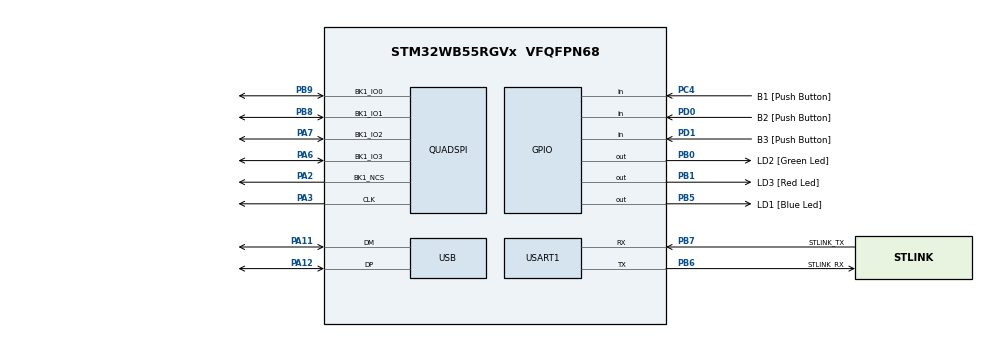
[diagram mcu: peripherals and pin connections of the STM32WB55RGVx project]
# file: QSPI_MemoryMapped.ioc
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Dma.QUADSPI.0.Direction=DMA_PERIPH_TO_MEMORY
Dma.QUADSPI.0.EventEnable=DISABLE
Dma.QUADSPI.0.Instance=DMA1_Channel5
Dma.QUADSPI.0.MemDataAlignment=DMA_MDATAALIGN_BYTE
Dma.QUADSPI.0.MemInc=DMA_MINC_ENABLE
Dma.QUADSPI.0.Mode=DMA_NORMAL
Dma.QUADSPI.0.PeriphDataAlignment=DMA_PDATAALIGN_BYTE
Dma.QUADSPI.0.PeriphInc=DMA_PINC_DISABLE
Dma.QUADSPI.0.Polarity=HAL_DMAMUX_REQ_GEN_RISING
Dma.QUADSPI.0.Priority=DMA_PRIORITY_LOW
Dma.QUADSPI.0.RequestNumber=1
Dma.QUADSPI.0.SignalID=NONE
Dma.QUADSPI.0.SyncEnable=DISABLE
Dma.QUADSPI.0.SyncPolarity=HAL_DMAMUX_SYNC_NO_EVENT
Dma.QUADSPI.0.SyncRequestNumber=1
Dma.QUADSPI.0.SyncSignalID=NONE
Dma.Request0=QUADSPI
Mcu.Family=STM32WB
Mcu.Name=STM32WB55RGVx
Mcu.Package=VFQFPN68
NVIC.DMA1_Channel5_IRQn=true\:0\:0\:false\:false\:true\:false\:true
NVIC.PriorityGroup=NVIC_PRIORITYGROUP_4
NVIC.QUADSPI_IRQn=true\:0\:0\:false\:false\:true\:true\:true
OSC_IN.Mode=HSE-External-Oscillator
OSC_IN.Signal=RCC_OSC_IN
OSC_OUT.Mode=HSE-External-Oscillator
OSC_OUT.Signal=RCC_OSC_OUT
PA11.Mode=Device
PA11.Signal=USB_DM
PA12.Mode=Device
PA12.Signal=USB_DP
PA13.GPIO_Label=JTMS
PA13.Mode=Trace_Asynchronous_SW
PA13.Signal=SYS_JTMS-SWDIO
PA14.GPIO_Label=JTCK
PA14.Mode=Trace_Asynchronous_SW
PA14.Signal=SYS_JTCK-SWCLK
PA2.GPIO_PuPd=GPIO_PULLUP
PA2.GPIO_Speed=GPIO_SPEED_FREQ_VERY_HIGH
PA2.Mode=Single Bank 1
PA2.Signal=QUADSPI_BK1_NCS
PA3.GPIO_Speed=GPIO_SPEED_FREQ_VERY_HIGH
PA3.Mode=Single Bank 1
PA3.Signal=QUADSPI_CLK
PA6.GPIO_Speed=GPIO_SPEED_FREQ_VERY_HIGH
PA6.Mode=Single Bank 1
PA6.Signal=QUADSPI_BK1_IO3
PA7.GPIO_Speed=GPIO_SPEED_FREQ_VERY_HIGH
PA7.Mode=Single Bank 1
PA7.Signal=QUADSPI_BK1_IO2
PB0.GPIO_Label=LD2 [Green Led]
PB0.Signal=GPIO_Output
PB1.GPIO_Label=LD3 [Red Led]
PB1.Signal=GPIO_Output
PB3.GPIO_Label=JTDO
PB3.Mode=Trace_Asynchronous_SW
PB3.Signal=SYS_JTDO-SWO
PB5.GPIO_Label=LD1 [Blue Led]
PB5.Signal=GPIO_Output
PB6.GPIO_Label=STLINK_RX
PB6.GPIO_PuPd=GPIO_PULLUP
PB6.Mode=Asynchronous
PB6.Signal=USART1_TX
PB7.GPIO_Label=STLINK_TX
PB7.GPIO_PuPd=GPIO_PULLUP
PB7.Mode=Asynchronous
PB7.Signal=USART1_RX
PB8.GPIO_Speed=GPIO_SPEED_FREQ_VERY_HIGH
PB8.Mode=Single Bank 1
PB8.Signal=QUADSPI_BK1_IO1
PB9.GPIO_Speed=GPIO_SPEED_FREQ_VERY_HIGH
PB9.Mode=Single Bank 1
PB9.Signal=QUADSPI_BK1_IO0
PC13.Mode=SYS_WakeUp1
PC13.Signal=SYS_WKUP2
PC14-OSC32_IN.Mode=LSE-External-Oscillator
PC14-OSC32_IN.Signal=RCC_OSC32_IN
PC15-OSC32_OUT.Mode=LSE-External-Oscillator
PC15-OSC32_OUT.Signal=RCC_OSC32_OUT
PC4.GPIO_Label=B1 [Push Button]
PC4.Signal=GPIO_Input
PD0.GPIO_Label=B2 [Push Button]
PD0.Signal=GPIO_Input
PD1.GPIO_Label=B3 [Push Button]
PD1.Signal=GPIO_Input
ProjectManager.HeapSize=0x200
ProjectManager.StackSize=0x400
ProjectManager.TargetToolchain=EWARM V8
QUADSPI.ClockPrescaler=2
QUADSPI.FifoThreshold=4
QUADSPI.FlashSize=22
QUADSPI.SampleShifting=QSPI_SAMPLE_SHIFTING_HALFCYCLE
RCC.ADCFreq_Value=48000000
RCC.AHB2CLKDivider=RCC_SYSCLK_DIV2
RCC.AHBFreq_Value=64000000
RCC.APB1Freq_Value=64000000
RCC.APB1TimFreq_Value=64000000
RCC.APB2Freq_Value=64000000
RCC.APB2TimFreq_Value=64000000
RCC.APB3Freq_Value=16000000
RCC.CortexFreq_Value=64000000
RCC.HCLKFreq_Value=64000000
RCC.HSE_VALUE=32000000
RCC.HSI48_VALUE=48000000
RCC.HSI_VALUE=16000000
RCC.PLLN=32
RCC.PLLSAI1N=24
RCC.SMPSCLockSelectionVirtual=RCC_SMPSCLKSOURCE_HSI
RCC.SMPSCLockSelectionVirtualVirtual=RCC_SMPSCLKSOURCE_HSI
RCC.SYSCLKFreq_VALUE=64000000
RCC.SYSCLKSource=RCC_SYSCLKSOURCE_PLLCLK
RCC.USBFreq_Value=48000000
RCC.VCOOutputFreq_Value=128000000
USART1.VirtualMode-Asynchronous=VM_ASYNC
USART1.WordLength=WORDLENGTH_7B
board=P-NUCLEO-WB55.Nucleo

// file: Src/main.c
/* USER CODE BEGIN Header */
/**
  ******************************************************************************
  * @file    QSPI/QSPI_MemoryMapped/Src/main.c
  * @author  MCD Application Team
  * @brief   This sample code shows how to erase part of the QSPI memory, write
  *          data in DMA mode and access to QSPI memory in memory-mapped mode.
  ******************************************************************************
  * @attention
  *
  * <h2><center>&copy; Copyright (c) 2019 STMicroelectronics.
  * All rights reserved.</center></h2>
  *
  * This software component is licensed by ST under BSD 3-Clause license,
  * the "License"; You may not use this file except in compliance with the
  * License. You may obtain a copy of the License at:
  *                        opensource.org/licenses/BSD-3-Clause
  *
  ******************************************************************************
  */
/* USER CODE END Header */
#include "main.h"

QSPI_HandleTypeDef hqspi;
DMA_HandleTypeDef hdma_quadspi;

UART_HandleTypeDef huart1;

PCD_HandleTypeDef hpcd_USB_FS;

/* USER CODE BEGIN PV */
__IO uint8_t CmdCplt, RxCplt, TxCplt, StatusMatch;

/* Buffer used for transmission */
uint8_t aTxBuffer[] = " ****Memory-mapped QSPI communication****  ****Memory-mapped QSPI communication****  ****Memory-mapped QSPI communication****  ****Memory-mapped QSPI communication****  ****Memory-mapped QSPI communication****  ****Memory-mapped QSPI communication**** ";
/* USER CODE END PV */

void SystemClock_Config(void);
static void MX_GPIO_Init(void);
static void MX_DMA_Init(void);
static void MX_QUADSPI_Init(void);
static void MX_USART1_UART_Init(void);
static void MX_USB_PCD_Init(void);
/* USER CODE BEGIN PFP */
static void QSPI_WriteEnable(QSPI_HandleTypeDef *hqspi);
static void QSPI_AutoPollingMemReady(QSPI_HandleTypeDef *hqspi);
static void QSPI_DummyCyclesCfg(QSPI_HandleTypeDef *hqspi);
/* USER CODE END PFP */

int main(void)
{
  /* USER CODE BEGIN 1 */
  QSPI_CommandTypeDef      sCommand;
  QSPI_MemoryMappedTypeDef sMemMappedCfg;
  uint32_t address = 0;
  __IO uint8_t *qspi_addr = (__IO uint8_t *)(0x90000000);
  uint16_t index;
  __IO uint8_t step = 0;

  /* USER CODE END 1 */

  /* MCU Configuration--------------------------------------------------------*/

  /* Reset of all peripherals, Initializes the Flash interface and the Systick. */
  HAL_Init();

  /* Configure the system clock */
  SystemClock_Config();

  /* USER CODE BEGIN SysInit */
  BSP_LED_Init(LED_GREEN);
  BSP_LED_Init(LED_RED);
  /* USER CODE END SysInit */

  /* Initialize all configured peripherals */
  MX_GPIO_Init();
  MX_DMA_Init();
  MX_QUADSPI_Init();
  MX_USART1_UART_Init();
  MX_USB_PCD_Init();

  /* Infinite loop */
  /* USER CODE BEGIN WHILE */
  sCommand.InstructionMode   = QSPI_INSTRUCTION_1_LINE;
  sCommand.AddressSize       = QSPI_ADDRESS_24_BITS;
  sCommand.AlternateByteMode = QSPI_ALTERNATE_BYTES_NONE;
  sCommand.DdrMode           = QSPI_DDR_MODE_DISABLE;
  sCommand.SIOOMode          = QSPI_SIOO_INST_EVERY_CMD;

  while (1)
  {
    switch(step)
    {
      case 0:
        CmdCplt = 0;

        /* Initialize QuadSPI ------------------------------------------------ */
        HAL_QSPI_DeInit(&hqspi);
        if (HAL_QSPI_Init(&hqspi) != HAL_OK)
        {
          Error_Handler();
        }

        /* Enable write operations ------------------------------------------- */
        QSPI_WriteEnable(&hqspi);

        /* Erasing Sequence -------------------------------------------------- */
        sCommand.Instruction = SUBSECTOR_ERASE_CMD;
        sCommand.AddressMode = QSPI_ADDRESS_1_LINE;
        sCommand.Address     = address;
        sCommand.DataMode    = QSPI_DATA_NONE;
        sCommand.DummyCycles = 0;

        if (HAL_QSPI_Command_IT(&hqspi, &sCommand) != HAL_OK)
        {
          Error_Handler();
        }

        step++;
        break;

      case 1:
        if(CmdCplt != 0)
        {
          CmdCplt = 0;
          StatusMatch = 0;

          /* Configure automatic polling mode to wait for end of erase ------- */
          QSPI_AutoPollingMemReady(&hqspi);

          step++;
        }
        break;

      case 2:
        if(StatusMatch != 0)
        {
          StatusMatch = 0;
          TxCplt = 0;

          /* Enable write operations ----------------------------------------- */
          QSPI_WriteEnable(&hqspi);

          /* Writing Sequence ------------------------------------------------ */
          sCommand.Instruction = EXT_DUAL_IN_FAST_PROG_CMD;
          sCommand.AddressMode = QSPI_ADDRESS_2_LINES;
          sCommand.DataMode    = QSPI_DATA_2_LINES;
          sCommand.NbData      = BUFFERSIZE;

          if (HAL_QSPI_Command(&hqspi, &sCommand, HAL_QSPI_TIMEOUT_DEFAULT_VALUE) != HAL_OK)
          {
            Error_Handler();
          }

          if (HAL_QSPI_Transmit_DMA(&hqspi, aTxBuffer) != HAL_OK)
          {
            Error_Handler();
          }

          step++;
        }
        break;

      case 3:
        if(TxCplt != 0)
        {
          TxCplt = 0;
          StatusMatch = 0;

          /* Configure automatic polling mode to wait for end of program ----- */
          QSPI_AutoPollingMemReady(&hqspi);

          step++;
        }
        break;

      case 4:
        if(StatusMatch != 0)
        {
          StatusMatch = 0;
          RxCplt = 0;

          /* Configure Volatile Configuration register (with new dummy cycles) */
          QSPI_DummyCyclesCfg(&hqspi);

          /* Reading Sequence ------------------------------------------------ */
          sCommand.Instruction = QUAD_OUT_FAST_READ_CMD;
          sCommand.AddressMode = QSPI_ADDRESS_1_LINE;
          sCommand.DataMode    = QSPI_DATA_4_LINES;
          sCommand.DummyCycles = DUMMY_CLOCK_CYCLES_READ;

          sMemMappedCfg.TimeOutActivation = QSPI_TIMEOUT_COUNTER_DISABLE;

          if (HAL_QSPI_MemoryMapped(&hqspi, &sCommand, &sMemMappedCfg) != HAL_OK)
          {
            Error_Handler();
          }

          for (index = 0; index < BUFFERSIZE; index++)
          {
            if (*qspi_addr != aTxBuffer[index])
            {
              BSP_LED_On(LED_RED);
            }
            qspi_addr++;
          }
          BSP_LED_Toggle(LED_GREEN);

          address += QSPI_PAGE_SIZE;
          if(address >= QSPI_END_ADDR)
          {
            address = 0;
          }
          qspi_addr = (__IO uint8_t *)(0x90000000 + address);

          step = 0;
        }
        break;

      default :
        Error_Handler();
    }
    /* USER CODE END WHILE */

  }
}

void SystemClock_Config(void)
{
  RCC_OscInitTypeDef RCC_OscInitStruct = {0};
  RCC_ClkInitTypeDef RCC_ClkInitStruct = {0};
  RCC_PeriphCLKInitTypeDef PeriphClkInitStruct = {0};

  /** Configure LSE Drive Capability
  */
  HAL_PWR_EnableBkUpAccess();
  __HAL_RCC_LSEDRIVE_CONFIG(RCC_LSEDRIVE_LOW);
  /** Configure the main internal regulator output voltage
  */
  __HAL_PWR_VOLTAGESCALING_CONFIG(PWR_REGULATOR_VOLTAGE_SCALE1);
  /** Initializes the RCC Oscillators according to the specified parameters
  * in the RCC_OscInitTypeDef structure.
  */
  RCC_OscInitStruct.OscillatorType = RCC_OSCILLATORTYPE_HSI|RCC_OSCILLATORTYPE_HSE
                              |RCC_OSCILLATORTYPE_LSE|RCC_OSCILLATORTYPE_MSI;
  RCC_OscInitStruct.HSEState = RCC_HSE_ON;
  RCC_OscInitStruct.LSEState = RCC_LSE_ON;
  RCC_OscInitStruct.HSIState = RCC_HSI_ON;
  RCC_OscInitStruct.MSIState = RCC_MSI_ON;
  RCC_OscInitStruct.HSICalibrationValue = RCC_HSICALIBRATION_DEFAULT;
  RCC_OscInitStruct.MSICalibrationValue = RCC_MSICALIBRATION_DEFAULT;
  RCC_OscInitStruct.MSIClockRange = RCC_MSIRANGE_6;
  RCC_OscInitStruct.PLL.PLLState = RCC_PLL_ON;
  RCC_OscInitStruct.PLL.PLLSource = RCC_PLLSOURCE_MSI;
  RCC_OscInitStruct.PLL.PLLM = RCC_PLLM_DIV1;
  RCC_OscInitStruct.PLL.PLLN = 32;
  RCC_OscInitStruct.PLL.PLLP = RCC_PLLP_DIV2;
  RCC_OscInitStruct.PLL.PLLR = RCC_PLLR_DIV2;
  RCC_OscInitStruct.PLL.PLLQ = RCC_PLLQ_DIV2;
  if (HAL_RCC_OscConfig(&RCC_OscInitStruct) != HAL_OK)
  {
    Error_Handler();
  }
  /** Configure the SYSCLKSource, HCLK, PCLK1 and PCLK2 clocks dividers
  */
  RCC_ClkInitStruct.ClockType = RCC_CLOCKTYPE_HCLK4|RCC_CLOCKTYPE_HCLK2
                              |RCC_CLOCKTYPE_HCLK|RCC_CLOCKTYPE_SYSCLK
                              |RCC_CLOCKTYPE_PCLK1|RCC_CLOCKTYPE_PCLK2;
  RCC_ClkInitStruct.SYSCLKSource = RCC_SYSCLKSOURCE_PLLCLK;
  RCC_ClkInitStruct.AHBCLKDivider = RCC_SYSCLK_DIV1;
  RCC_ClkInitStruct.APB1CLKDivider = RCC_HCLK_DIV1;
  RCC_ClkInitStruct.APB2CLKDivider = RCC_HCLK_DIV1;
  RCC_ClkInitStruct.AHBCLK2Divider = RCC_SYSCLK_DIV2;
  RCC_ClkInitStruct.AHBCLK4Divider = RCC_SYSCLK_DIV1;

  if (HAL_RCC_ClockConfig(&RCC_ClkInitStruct, FLASH_LATENCY_3) != HAL_OK)
  {
    Error_Handler();
  }
  /** Initializes the peripherals clocks
  */
  PeriphClkInitStruct.PeriphClockSelection = RCC_PERIPHCLK_SMPS|RCC_PERIPHCLK_USART1
                              |RCC_PERIPHCLK_USB;
  PeriphClkInitStruct.PLLSAI1.PLLN = 24;
  PeriphClkInitStruct.PLLSAI1.PLLP = RCC_PLLP_DIV2;
  PeriphClkInitStruct.PLLSAI1.PLLQ = RCC_PLLQ_DIV2;
  PeriphClkInitStruct.PLLSAI1.PLLR = RCC_PLLR_DIV2;
  PeriphClkInitStruct.PLLSAI1.PLLSAI1ClockOut = RCC_PLLSAI1_USBCLK;
  PeriphClkInitStruct.Usart1ClockSelection = RCC_USART1CLKSOURCE_PCLK2;
  PeriphClkInitStruct.UsbClockSelection = RCC_USBCLKSOURCE_PLLSAI1;
  PeriphClkInitStruct.SmpsClockSelection = RCC_SMPSCLKSOURCE_HSI;
  PeriphClkInitStruct.SmpsDivSelection = RCC_SMPSCLKDIV_RANGE1;
  if (HAL_RCCEx_PeriphCLKConfig(&PeriphClkInitStruct) != HAL_OK)
  {
    Error_Handler();
  }
  /** Enable MSI Auto calibration
  */
  HAL_RCCEx_EnableMSIPLLMode();
}

static void MX_QUADSPI_Init(void)
{

  /* QUADSPI parameter configuration*/
  hqspi.Instance = QUADSPI;
  hqspi.Init.ClockPrescaler = 2;
  hqspi.Init.FifoThreshold = 4;
  hqspi.Init.SampleShifting = QSPI_SAMPLE_SHIFTING_HALFCYCLE;
  hqspi.Init.FlashSize = 22;
  hqspi.Init.ChipSelectHighTime = QSPI_CS_HIGH_TIME_1_CYCLE;
  hqspi.Init.ClockMode = QSPI_CLOCK_MODE_0;
  if (HAL_QSPI_Init(&hqspi) != HAL_OK)
  {
    Error_Handler();
  }

}

static void MX_USART1_UART_Init(void)
{

  huart1.Instance = USART1;
  huart1.Init.BaudRate = 115200;
  huart1.Init.WordLength = UART_WORDLENGTH_7B;
  huart1.Init.StopBits = UART_STOPBITS_1;
  huart1.Init.Parity = UART_PARITY_NONE;
  huart1.Init.Mode = UART_MODE_TX_RX;
  huart1.Init.HwFlowCtl = UART_HWCONTROL_NONE;
  huart1.Init.OverSampling = UART_OVERSAMPLING_16;
  huart1.Init.OneBitSampling = UART_ONE_BIT_SAMPLE_DISABLE;
  huart1.Init.ClockPrescaler = UART_PRESCALER_DIV1;
  huart1.AdvancedInit.AdvFeatureInit = UART_ADVFEATURE_NO_INIT;
  if (HAL_UART_Init(&huart1) != HAL_OK)
  {
    Error_Handler();
  }
  if (HAL_UARTEx_SetTxFifoThreshold(&huart1, UART_TXFIFO_THRESHOLD_1_8) != HAL_OK)
  {
    Error_Handler();
  }
  if (HAL_UARTEx_SetRxFifoThreshold(&huart1, UART_RXFIFO_THRESHOLD_1_8) != HAL_OK)
  {
    Error_Handler();
  }
  if (HAL_UARTEx_DisableFifoMode(&huart1) != HAL_OK)
  {
    Error_Handler();
  }

}

static void MX_USB_PCD_Init(void)
{

  hpcd_USB_FS.Instance = USB;
  hpcd_USB_FS.Init.dev_endpoints = 8;
  hpcd_USB_FS.Init.speed = PCD_SPEED_FULL;
  hpcd_USB_FS.Init.phy_itface = PCD_PHY_EMBEDDED;
  hpcd_USB_FS.Init.Sof_enable = DISABLE;
  hpcd_USB_FS.Init.low_power_enable = DISABLE;
  hpcd_USB_FS.Init.lpm_enable = DISABLE;
  hpcd_USB_FS.Init.battery_charging_enable = DISABLE;
  if (HAL_PCD_Init(&hpcd_USB_FS) != HAL_OK)
  {
    Error_Handler();
  }

}

static void MX_DMA_Init(void)
{

  /* DMA controller clock enable */
  __HAL_RCC_DMAMUX1_CLK_ENABLE();
  __HAL_RCC_DMA1_CLK_ENABLE();

  /* DMA interrupt init */
  /* DMA1_Channel5_IRQn interrupt configuration */
  HAL_NVIC_SetPriority(DMA1_Channel5_IRQn, 0, 0);
  HAL_NVIC_EnableIRQ(DMA1_Channel5_IRQn);

}

static void MX_GPIO_Init(void)
{
  GPIO_InitTypeDef GPIO_InitStruct = {0};

  /* GPIO Ports Clock Enable */
  __HAL_RCC_GPIOC_CLK_ENABLE();
  __HAL_RCC_GPIOB_CLK_ENABLE();
  __HAL_RCC_GPIOA_CLK_ENABLE();
  __HAL_RCC_GPIOD_CLK_ENABLE();

  /*Configure GPIO pin Output Level */
  HAL_GPIO_WritePin(GPIOB, LD2_Pin|LD3_Pin|LD1_Pin, GPIO_PIN_RESET);

  /*Configure GPIO pin : B1_Pin */
  GPIO_InitStruct.Pin = B1_Pin;
  GPIO_InitStruct.Mode = GPIO_MODE_INPUT;
  GPIO_InitStruct.Pull = GPIO_NOPULL;
  HAL_GPIO_Init(B1_GPIO_Port, &GPIO_InitStruct);

  /*Configure GPIO pins : LD2_Pin LD3_Pin LD1_Pin */
  GPIO_InitStruct.Pin = LD2_Pin|LD3_Pin|LD1_Pin;
  GPIO_InitStruct.Mode = GPIO_MODE_OUTPUT_PP;
  GPIO_InitStruct.Pull = GPIO_NOPULL;
  GPIO_InitStruct.Speed = GPIO_SPEED_FREQ_LOW;
  HAL_GPIO_Init(GPIOB, &GPIO_InitStruct);

  /*Configure GPIO pins : B2_Pin B3_Pin */
  GPIO_InitStruct.Pin = B2_Pin|B3_Pin;
  GPIO_InitStruct.Mode = GPIO_MODE_INPUT;
  GPIO_InitStruct.Pull = GPIO_NOPULL;
  HAL_GPIO_Init(GPIOD, &GPIO_InitStruct);

}

/* USER CODE BEGIN 4 */
/**
  * @brief  Command completed callbacks.
  * @param  hqspi QSPI handle
  * @retval None
  */
void HAL_QSPI_CmdCpltCallback(QSPI_HandleTypeDef *hqspi)
{
  CmdCplt++;
}

/**
  * @brief  Rx Transfer completed callbacks.
  * @param  hqspi QSPI handle
  * @retval None
  */
void HAL_QSPI_RxCpltCallback(QSPI_HandleTypeDef *hqspi)
{
  RxCplt++;
}

/**
  * @brief  Tx Transfer completed callbacks.
  * @param  hqspi QSPI handle
  * @retval None
  */
void HAL_QSPI_TxCpltCallback(QSPI_HandleTypeDef *hqspi)
{
  TxCplt++;
}

/**
  * @brief  Status Match callbacks
  * @param  hqspi QSPI handle
  * @retval None
  */
void HAL_QSPI_StatusMatchCallback(QSPI_HandleTypeDef *hqspi)
{
  StatusMatch++;
}

/**
  * @brief  This function send a Write Enable and wait it is effective.
  * @param  hqspi QSPI handle
  * @retval None
  */
static void QSPI_WriteEnable(QSPI_HandleTypeDef *hqspi)
{
  QSPI_CommandTypeDef     sCommand;
  QSPI_AutoPollingTypeDef sConfig;

  /* Enable write operations ------------------------------------------ */
  sCommand.InstructionMode   = QSPI_INSTRUCTION_1_LINE;
  sCommand.Instruction       = WRITE_ENABLE_CMD;
  sCommand.AddressMode       = QSPI_ADDRESS_NONE;
  sCommand.AlternateByteMode = QSPI_ALTERNATE_BYTES_NONE;
  sCommand.DataMode          = QSPI_DATA_NONE;
  sCommand.DummyCycles       = 0;
  sCommand.DdrMode           = QSPI_DDR_MODE_DISABLE;
  sCommand.SIOOMode          = QSPI_SIOO_INST_EVERY_CMD;

  if (HAL_QSPI_Command(hqspi, &sCommand, HAL_QSPI_TIMEOUT_DEFAULT_VALUE) != HAL_OK)
  {
    Error_Handler();
  }

  /* Configure automatic polling mode to wait for write enabling ---- */
  sConfig.Match           = 0x02;
  sConfig.Mask            = 0x02;
  sConfig.MatchMode       = QSPI_MATCH_MODE_AND;
  sConfig.StatusBytesSize = 1;
  sConfig.Interval        = 0x10;
  sConfig.AutomaticStop   = QSPI_AUTOMATIC_STOP_ENABLE;

  sCommand.Instruction    = READ_STATUS_REG_CMD;
  sCommand.DataMode       = QSPI_DATA_1_LINE;

  if (HAL_QSPI_AutoPolling(hqspi, &sCommand, &sConfig, HAL_QSPI_TIMEOUT_DEFAULT_VALUE) != HAL_OK)
  {
    Error_Handler();
  }
}

/**
  * @brief  This function read the SR of the memory and wait the EOP.
  * @param  hqspi QSPI handle
  * @retval None
  */
static void QSPI_AutoPollingMemReady(QSPI_HandleTypeDef *hqspi)
{
  QSPI_CommandTypeDef     sCommand;
  QSPI_AutoPollingTypeDef sConfig;

  /* Configure automatic polling mode to wait for memory ready ------ */
  sCommand.InstructionMode   = QSPI_INSTRUCTION_1_LINE;
  sCommand.Instruction       = READ_STATUS_REG_CMD;
  sCommand.AddressMode       = QSPI_ADDRESS_NONE;
  sCommand.AlternateByteMode = QSPI_ALTERNATE_BYTES_NONE;
  sCommand.DataMode          = QSPI_DATA_1_LINE;
  sCommand.DummyCycles       = 0;
  sCommand.DdrMode           = QSPI_DDR_MODE_DISABLE;
  sCommand.SIOOMode          = QSPI_SIOO_INST_EVERY_CMD;

  sConfig.Match           = 0x00;
  sConfig.Mask            = 0x01;
  sConfig.MatchMode       = QSPI_MATCH_MODE_AND;
  sConfig.StatusBytesSize = 1;
  sConfig.Interval        = 0x10;
  sConfig.AutomaticStop   = QSPI_AUTOMATIC_STOP_ENABLE;

  if (HAL_QSPI_AutoPolling_IT(hqspi, &sCommand, &sConfig) != HAL_OK)
  {
    Error_Handler();
  }
}

/**
  * @brief  This function configure the dummy cycles on memory side.
  * @param  hqspi QSPI handle
  * @retval None
  */
static void QSPI_DummyCyclesCfg(QSPI_HandleTypeDef *hqspi)
{
  QSPI_CommandTypeDef sCommand;
  uint8_t reg;

  /* Read Volatile Configuration register --------------------------- */
  sCommand.InstructionMode   = QSPI_INSTRUCTION_1_LINE;
  sCommand.Instruction       = READ_VOL_CFG_REG_CMD;
  sCommand.AddressMode       = QSPI_ADDRESS_NONE;
  sCommand.AlternateByteMode = QSPI_ALTERNATE_BYTES_NONE;
  sCommand.DataMode          = QSPI_DATA_1_LINE;
  sCommand.DummyCycles       = 0;
  sCommand.DdrMode           = QSPI_DDR_MODE_DISABLE;
  sCommand.SIOOMode          = QSPI_SIOO_INST_EVERY_CMD;
  sCommand.NbData            = 1;

  if (HAL_QSPI_Command(hqspi, &sCommand, HAL_QSPI_TIMEOUT_DEFAULT_VALUE) != HAL_OK)
  {
    Error_Handler();
  }

  if (HAL_QSPI_Receive(hqspi, &reg, HAL_QSPI_TIMEOUT_DEFAULT_VALUE) != HAL_OK)
  {
    Error_Handler();
  }

  /* Enable write operations ---------------------------------------- */
  QSPI_WriteEnable(hqspi);

  /* Write Volatile Configuration register (with new dummy cycles) -- */
  sCommand.Instruction = WRITE_VOL_CFG_REG_CMD;
  MODIFY_REG(reg, 0xF0, (DUMMY_CLOCK_CYCLES_READ << POSITION_VAL(0xF0)));

  if (HAL_QSPI_Command(hqspi, &sCommand, HAL_QSPI_TIMEOUT_DEFAULT_VALUE) != HAL_OK)
  {
    Error_Handler();
  }

  if (HAL_QSPI_Transmit(hqspi, &reg, HAL_QSPI_TIMEOUT_DEFAULT_VALUE) != HAL_OK)
  {
    Error_Handler();
  }
}

/* USER CODE END 4 */

void Error_Handler(void)
{
  /* USER CODE BEGIN Error_Handler_Debug */
  /* User can add his own implementation to report the HAL error return state */
  while(1)
  {
    HAL_Delay(100);
    BSP_LED_Toggle(LED_RED);
  }
  /* USER CODE END Error_Handler_Debug */
}

/************************ (C) COPYRIGHT STMicroelectronics *****END OF FILE****/
